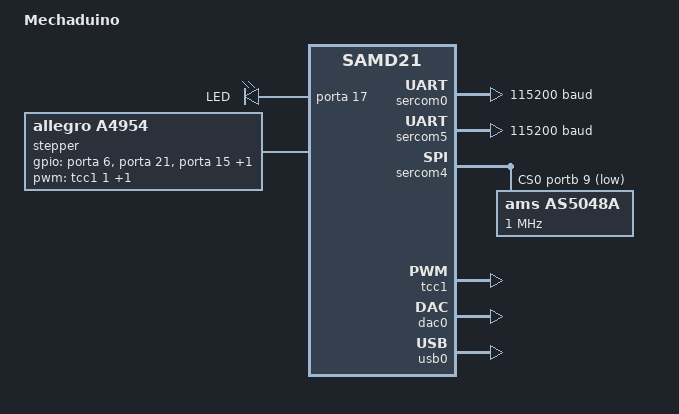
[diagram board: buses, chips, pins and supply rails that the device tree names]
/*
 * Copyright (c) 2017 Google LLC.
 *
 * SPDX-License-Identifier: Apache-2.0
 */

/dts-v1/;
#include <atmel/samd21.dtsi>
#include <atmel/samx2xx18.dtsi>
#include "mechaduino-pinctrl.dtsi"

/ {
	model = "Mechaduino";
	compatible = "atmel,samd21g18a", "atmel,samd21";

	chosen {
		zephyr,console = &cdc_acm_uart0;
		zephyr,shell-uart = &cdc_acm_uart0;
		zephyr,sram = &sram0;
		zephyr,flash = &flash0;
		zephyr,code-partition = &code_partition;
	};

	leds {
		compatible = "gpio-leds";
		led0: led_0 {
			gpios = <&porta 17 0>;
			label = "LED";
		};
	};

	stepper: stepper {
		status = "okay";
		compatible = "allegro,a4954";

		/*
		IN1, IN2, IN3, IN4
		*/
		gpios = <&porta 6 0>, <&porta 21 0>, <&porta 15 0>, <&porta 20 0>;
		/*
		vref12: PA7 afE tcc1/1 WO[1]   (or afF tcc3/1 WO[5])
		vref34: PA7 afF tcc1/0 WO[2]   (or afE tcc0/0 WO[0])
		tcc0, tcc3 are 24-bit 4-channel, tcc1 is 24-bit 2-channel
		*/
		pwms = <&tcc1 1 PWM_USEC(10)>, <&tcc1 0 PWM_USEC(10)>;
	};
};

&cpu0 {
	clock-frequency = <48000000>;
};

&sercom0 {
	status = "okay";
	compatible = "atmel,sam0-uart";
	current-speed = <115200>;
	rxpo = <3>;
	txpo = <1>;

	pinctrl-0 = <&sercom0_uart_default>;
	pinctrl-names = "default";
};

&sercom5 {
	status = "okay";
	compatible = "atmel,sam0-uart";
	current-speed = <115200>;
	rxpo = <3>;
	txpo = <1>;

	pinctrl-0 = <&sercom5_uart_default>;
	pinctrl-names = "default";
};

&sercom4 {
	status = "okay";
	compatible = "atmel,sam0-spi";

	/* Correspond directly to pad number. PA12D_SERCOM4_PAD0 */
	dipo = <0>;
	/* See datasheet 27.8.1. DOPO=1 corresponds to:
	   DO=PAD2 (PB10D_SERCOM4_PAD2)
	   SCK=PAD3 (PB11D_SERCOM4_PAD3)
	   SS=PAD1 (PB9D_SERCOM4_PAD1)
	*/
	dopo = <1>;

	#address-cells = <1>;
	#size-cells = <0>;

	pinctrl-0 = <&sercom4_spi_default>;
	pinctrl-names = "default";

	cs-gpios = <&portb 9 GPIO_ACTIVE_LOW>;

	as5048a: as5048a@0 {
		status = "okay";
		compatible = "ams,as5048a";
		reg = <0>;

		spi-max-frequency = <1000000>;
	};
};

&tcc1 {
	status = "okay";
	compatible = "atmel,sam0-tcc-pwm";
	prescaler = <1>;
	#pwm-cells = <2>;

	pinctrl-0 = <&pwm_vref>;
	pinctrl-names = "default";
};

&dac0 {
	status = "okay";

	pinctrl-0 = <&dac_default>;
	pinctrl-names = "default";
};

&flash0 {
	partitions {
		compatible = "fixed-partitions";
		#address-cells = <1>;
		#size-cells = <1>;

		boot_partition: partition@0 {
			label = "sam-ba";
			reg = <0x00000000 DT_SIZE_K(8)>;
			read-only;
		};

		code_partition: partition@2000 {
			label = "code";
			reg = <0x2000 DT_SIZE_K(232)>;
			read-only;
		};

		/*
		 * The final 16 KiB is reserved for the application.
		 * Storage partition will be used by FCB/LittleFS/NVS
		 * if enabled.
		 */
		storage_partition: partition@3c000 {
			label = "storage";
			reg = <0x0003c000 0x00004000>;
		};
	};
};

zephyr_udc0: &usb0 {
	status = "okay";

	pinctrl-0 = <&usb_dc_default>;
	pinctrl-names = "default";

	cdc_acm_uart0: cdc_acm_uart0 {
		compatible = "zephyr,cdc-acm-uart";
	};
};
